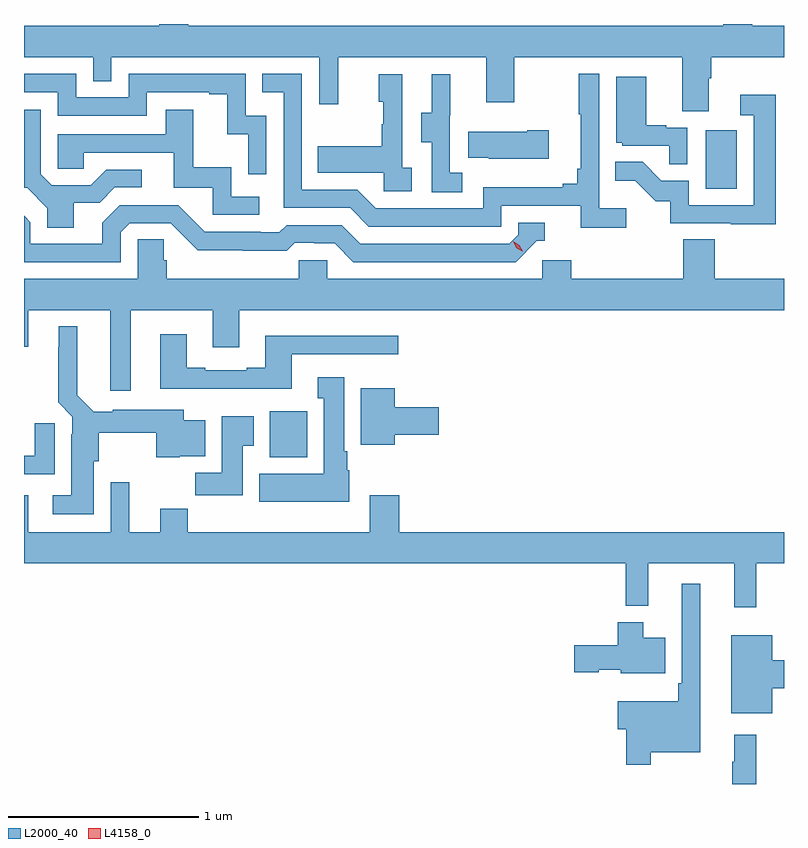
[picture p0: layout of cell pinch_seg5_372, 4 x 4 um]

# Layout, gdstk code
import gdstk
lib = gdstk.Library(unit=1e-6, precision=1e-09)
def R(c, l, rs):  # rectangles x0, y0, x1, y1
    for r in rs: c.add(gdstk.rectangle(r[:2], r[2:], *l))
def P(c, l, *ps):  # polygons
    for p in ps: c.add(gdstk.Polygon(p, *l))
L2000_40 = (2000, 40)
L4158_0 = (4158, 0)

pinch_seg5_372 = lib.new_cell('pinch_seg5_372')
R(pinch_seg5_372, L2000_40, [(950.723,875.966,950.92,876.208), (953.018,877.38,953.182,877.687)])
P(pinch_seg5_372, L2000_40, [(950.294,878.246),(950.141,878.246),(950.141,878.236),(949.43,878.236),(949.43,878.072),(949.794,878.072),(949.794,877.945),(949.89,877.945),(949.89,878.072),(950.985,878.072),(950.985,877.824),(951.083,877.824),(951.083,878.072),(951.863,878.072),(951.863,877.833),(952.011,877.833),(952.011,878.072),(952.895,878.072),(952.895,877.786),(953.035,877.786),(953.035,877.96),(953.048,877.96),(953.048,878.072),(953.43,878.072),(953.43,878.236),(953.263,878.236),(953.263,878.246),(953.111,878.246),(953.111,878.236),(950.294,878.236)],
  [(952.6,877.276),(952.458,877.276),(952.458,877.984),(952.35,877.984),(952.35,877.771),(952.361,877.771),(952.361,877.483),(952.342,877.483),(952.342,877.406),(952.265,877.406),(952.265,877.387),(951.846,877.387),(951.846,877.275),(951.282,877.275),(951.183,877.374),(950.892,877.374),(950.892,877.983),(950.683,877.983),(950.683,877.887),(950.796,877.887),(950.796,877.278),(951.146,877.278),(951.245,877.179),(951.942,877.179),(951.942,877.29),(952.361,877.29),(952.361,877.174),(952.6,877.174)],
  [(950.706,877.764),(950.598,877.764),(950.598,877.983),(949.98,877.983),(949.98,877.86),(949.704,877.86),(949.704,877.983),(949.43,877.983),(949.43,877.887),(949.608,877.887),(949.608,877.764),(950.076,877.764),(950.076,877.887),(950.405,877.887),(950.405,877.875),(950.501,877.875),(950.501,877.667),(950.61,877.667),(950.61,877.455),(950.706,877.455)],
  [(951.736,877.463),(951.672,877.463),(951.672,877.767),(951.674,877.767),(951.674,877.981),(951.575,877.981),(951.575,877.779),(951.521,877.779),(951.521,877.624),(951.576,877.624),(951.576,877.36),(951.736,877.36)],
  [(951.472,877.49),(951.42,877.49),(951.42,877.981),(951.296,877.981),(951.296,877.836),(951.322,877.836),(951.322,877.718),(951.312,877.718),(951.312,877.603),(950.977,877.603),(950.977,877.463),(951.324,877.463),(951.324,877.365),(951.472,877.365)],
  [(952.92,877.701),(952.809,877.701),(952.809,877.714),(952.705,877.714),(952.705,877.969),(952.547,877.969),(952.547,877.62),(952.578,877.62),(952.578,877.605),(952.825,877.605),(952.825,877.507),(952.92,877.507)],
  [(953.387,877.873),(953.199,877.873),(953.199,877.767),(953.271,877.767),(953.271,877.293),(952.929,877.293),(952.929,877.422),(952.785,877.422),(952.687,877.52),(952.543,877.52),(952.543,877.421),(952.647,877.421),(952.754,877.314),(952.831,877.314),(952.831,877.197),(953.149,877.197),(953.149,877.192),(953.387,877.192)],
  [(950.668,877.338),(950.52,877.338),(950.52,877.492),(950.321,877.492),(950.321,877.795),(950.177,877.795),(950.177,877.665),(949.608,877.665),(949.608,877.485),(949.745,877.485),(949.745,877.569),(950.219,877.569),(950.219,877.383),(950.424,877.383),(950.424,877.242),(950.668,877.242)],
  [(949.693,877.306),(949.828,877.306),(949.908,877.386),(950.05,877.386),(950.05,877.479),(949.862,877.479),(949.781,877.398),(949.575,877.398),(949.518,877.455),(949.518,877.795),(949.43,877.795),(949.43,877.383),(949.446,877.383),(949.553,877.276),(949.553,877.174),(949.693,877.174)],
  [(952.192,877.686),(952.079,877.686),(952.079,877.678),(951.769,877.678),(951.769,877.541),(951.877,877.541),(951.877,877.538),(952.192,877.538)],
  [(949.938,877.149),(949.986,877.197),(950.202,877.197),(950.344,877.055),(950.58,877.055),(950.58,877.053),(950.813,877.053),(950.855,877.095),(950.958,877.095),(950.958,877.092),(951.065,877.092),(951.164,876.993),(952.017,876.993),(952.128,877.104),(952.171,877.104),(952.171,877.2),(952.032,877.2),(952.032,877.137),(951.984,877.089),(951.201,877.089),(951.102,877.188),(950.813,877.188),(950.774,877.149),(950.675,877.149),(950.675,877.152),(950.382,877.152),(950.241,877.293),(949.935,877.293),(949.841,877.199),(949.841,877.089),(949.464,877.089),(949.464,877.203),(949.43,877.237),(949.43,876.993),(949.938,876.993)],
  [(949.993,876.74),(950.423,876.74),(950.423,876.546),(950.563,876.546),(950.563,876.74),(953.43,876.74),(953.43,876.904),(953.066,876.904),(953.066,877.112),(952.901,877.112),(952.901,876.904),(952.31,876.904),(952.31,877.002),(952.158,877.002),(952.158,876.904),(951.027,876.904),(951.027,877.002),(950.877,877.002),(950.877,876.904),(950.18,876.904),(950.18,877.002),(950.165,877.002),(950.165,877.112),(950.028,877.112),(950.028,876.904),(949.43,876.904),(949.43,876.548),(949.453,876.548),(949.453,876.74),(949.883,876.74),(949.883,876.315),(949.993,876.315)],
  [(949.798,875.946),(949.824,875.946),(949.824,876.095),(950.125,876.095),(950.125,875.966),(950.25,875.966),(950.25,875.972),(950.383,875.972),(950.383,876.16),(950.272,876.16),(950.272,876.217),(949.896,876.217),(949.896,876.205),(949.797,876.205),(949.711,876.292),(949.711,876.655),(949.613,876.655),(949.613,876.545),(949.609,876.545),(949.609,876.254),(949.683,876.18),(949.683,876.086),(949.679,876.086),(949.679,875.767),(949.581,875.767),(949.581,875.666),(949.798,875.666)],
  [(950.839,876.507),(951.4,876.507),(951.4,876.604),(950.699,876.604),(950.699,876.436),(950.603,876.436),(950.603,876.423),(950.383,876.423),(950.383,876.436),(950.287,876.436),(950.287,876.613),(950.147,876.613),(950.147,876.326),(950.839,876.326)],
  [(951.142,875.898),(951.13,875.898),(951.13,875.998),(951.115,875.998),(951.115,876.388),(950.975,876.388),(950.975,876.275),(951.008,876.275),(951.008,875.878),(950.669,875.878),(950.669,875.732),(951.142,875.732)],
  [(951.382,876.083),(951.613,876.083),(951.613,876.23),(951.382,876.23),(951.382,876.328),(951.203,876.328),(951.203,876.032),(951.382,876.032)],
  [(950.581,876.025),(950.638,876.025),(950.638,876.181),(950.471,876.181),(950.471,875.884),(950.332,875.884),(950.332,875.766),(950.581,875.766)],
  [(949.591,876.145),(949.487,876.145),(949.487,875.973),(949.43,875.973),(949.43,875.877),(949.591,875.877)],
  [(953.285,875.408),(953.43,875.408),(953.43,875.572),(951.404,875.572),(951.404,875.767),(951.251,875.767),(951.251,875.572),(950.291,875.572),(950.291,875.696),(950.147,875.696),(950.147,875.572),(949.984,875.572),(949.984,875.833),(949.887,875.833),(949.887,875.572),(949.453,875.572),(949.453,875.767),(949.43,875.767),(949.43,875.408),(952.597,875.408),(952.597,875.183),(952.715,875.183),(952.715,875.408),(953.168,875.408),(953.168,875.175),(953.285,875.175)],
  [(952.729,874.412),(952.99,874.412),(952.99,875.299),(952.893,875.299),(952.893,874.777),(952.873,874.777),(952.873,874.681),(952.556,874.681),(952.556,874.534),(952.6,874.534),(952.6,874.347),(952.729,874.347)],
  [(952.804,875.017),(952.69,875.017),(952.69,875.098),(952.556,875.098),(952.556,874.977),(952.326,874.977),(952.326,874.835),(952.455,874.835),(952.455,874.847),(952.572,874.847),(952.572,874.829),(952.804,874.829)],
  [(953.368,874.751),(953.43,874.751),(953.43,874.898),(953.368,874.898),(953.368,875.029),(953.153,875.029),(953.153,874.619),(953.368,874.619)],
  [(953.285,874.504),(953.168,874.504),(953.168,874.364),(953.157,874.364),(953.157,874.246),(953.285,874.246)])
P(pinch_seg5_372, L4158_0, [(952.053,877.049),(952.022,877.069),(952.006,877.101),(952.006,877.102),(952.006,877.102),(952.037,877.082),(952.054,877.049),(952.054,877.049)])

lib.write_gds('pinch_seg5_372.gds')
